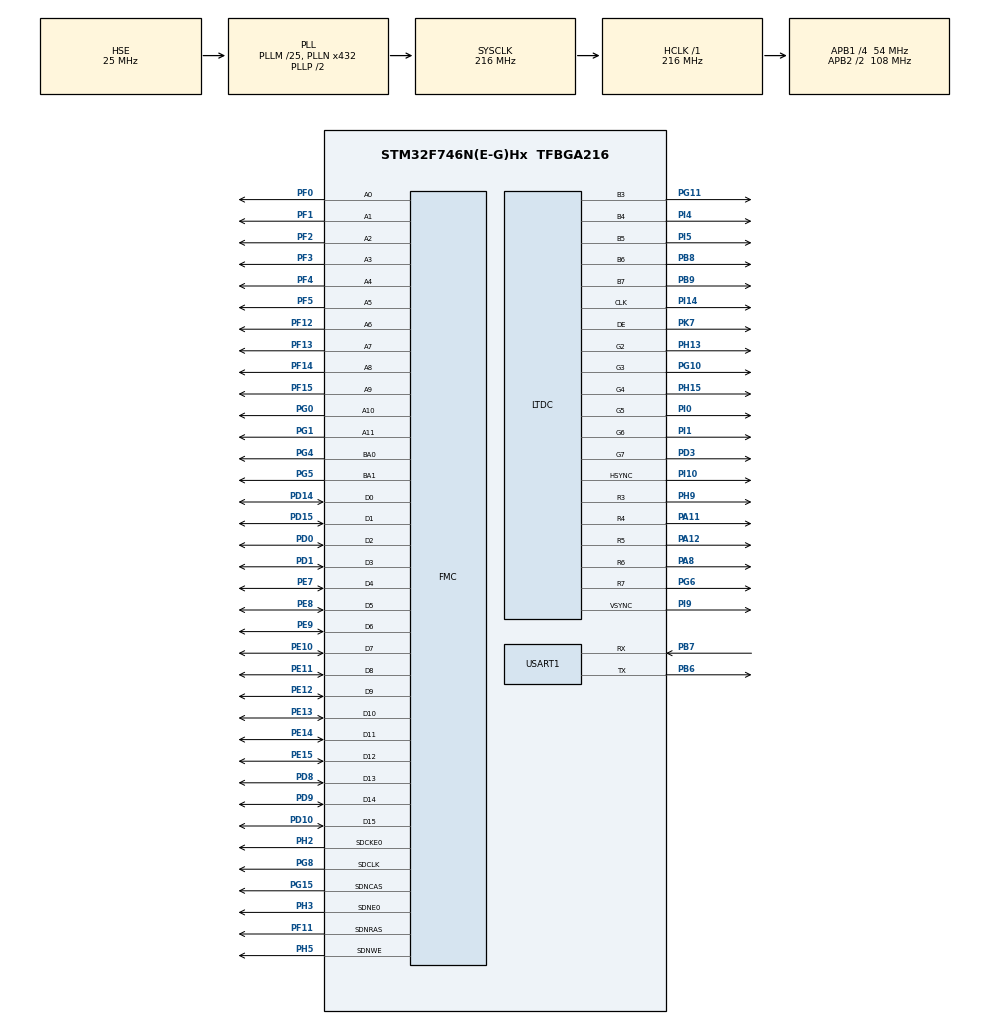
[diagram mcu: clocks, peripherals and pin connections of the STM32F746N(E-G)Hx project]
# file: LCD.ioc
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CORTEX_M7.CPU_DCache=Enabled
CORTEX_M7.CPU_ICache=Enabled
FMC.CASLatency1=FMC_SDRAM_CAS_LATENCY_2
FMC.ExitSelfRefreshDelay1=6
FMC.LoadToActiveDelay1=2
FMC.RCDDelay1=2
FMC.RPDelay1=2
FMC.RPDelay2=2
FMC.RowCycleDelay1=6
FMC.RowCycleDelay2=6
FMC.SelfRefreshTime1=4
FMC.WriteRecoveryTime1=2
FREERTOS.Tasks01=defaultTask,0,1280,StartDefaultTask,Default;myTask02,-3,128,StartTask02,Default;myTask03,-3,128,StartTask03,Default;myTask04,-3,128,StartTask04,Default;myTask05,-3,128,StartTask05,Default
LTDC.ActiveH=272
LTDC.ActiveW=480
LTDC.HBP=73
LTDC.HFP=32
LTDC.HSync=41
LTDC.Layers=0
LTDC.VSync=10
LTDC.WindowX1_L0=480
LTDC.WindowY1_L0=272
Mcu.Family=STM32F7
Mcu.Name=STM32F746N(E-G)Hx
Mcu.Package=TFBGA216
NVIC.PriorityGroup=NVIC_PRIORITYGROUP_4
NVIC.TIM1_UP_TIM10_IRQn=true\:0\:0\:false\:false\:true\:false
NVIC.TimeBase=TIM1_UP_TIM10_IRQn
NVIC.TimeBaseIP=TIM1
PA11.Mode=RGB565
PA11.Signal=LTDC_R4
PA12.Mode=RGB565
PA12.Signal=LTDC_R5
PA13.Mode=Serial_Wire
PA13.Signal=SYS_JTMS-SWDIO
PA14.Mode=Serial_Wire
PA14.Signal=SYS_JTCK-SWCLK
PA8.Mode=RGB565
PA8.Signal=LTDC_R6
PB6.Mode=Asynchronous
PB6.Signal=USART1_TX
PB7.Mode=Asynchronous
PB7.Signal=USART1_RX
PB8.Mode=RGB565
PB8.Signal=LTDC_B6
PB9.Mode=RGB565
PB9.Signal=LTDC_B7
PD0.Signal=FMC_D2_DA2
PD1.Signal=FMC_D3_DA3
PD10.Signal=FMC_D15_DA15
PD14.Signal=FMC_D0_DA0
PD15.Signal=FMC_D1_DA1
PD3.Mode=RGB565
PD3.Signal=LTDC_G7
PD8.Signal=FMC_D13_DA13
PD9.Signal=FMC_D14_DA14
PE10.Signal=FMC_D7_DA7
PE11.Signal=FMC_D8_DA8
PE12.Signal=FMC_D9_DA9
PE13.Signal=FMC_D10_DA10
PE14.Signal=FMC_D11_DA11
PE15.Signal=FMC_D12_DA12
PE7.Signal=FMC_D4_DA4
PE8.Signal=FMC_D5_DA5
PE9.Signal=FMC_D6_DA6
PF0.Signal=FMC_A0
PF1.Signal=FMC_A1
PF11.Signal=FMC_SDNRAS
PF12.Signal=FMC_A6
PF13.Signal=FMC_A7
PF14.Signal=FMC_A8
PF15.Signal=FMC_A9
PF2.Signal=FMC_A2
PF3.Signal=FMC_A3
PF4.Signal=FMC_A4
PF5.Signal=FMC_A5
PG0.Signal=FMC_A10
PG1.Signal=FMC_A11
PG10.Mode=RGB565
PG10.Signal=LTDC_G3
PG11.Mode=RGB565
PG11.Signal=LTDC_B3
PG15.Signal=FMC_SDNCAS
PG4.Signal=FMC_A14_BA0
PG5.Signal=FMC_A15_BA1
PG6.Mode=RGB565
PG6.Signal=LTDC_R7
PG8.Signal=FMC_SDCLK
PH0/OSC_IN.Mode=HSE-External-Oscillator
PH0/OSC_IN.Signal=RCC_OSC_IN
PH1/OSC_OUT.Mode=HSE-External-Oscillator
PH1/OSC_OUT.Signal=RCC_OSC_OUT
PH13.Mode=RGB565
PH13.Signal=LTDC_G2
PH15.Mode=RGB565
PH15.Signal=LTDC_G4
PH2.Mode=SdramChipSelect1_1
PH2.Signal=FMC_SDCKE0
PH3.Mode=SdramChipSelect1_1
PH3.Signal=FMC_SDNE0
PH5.Signal=FMC_SDNWE
PH9.Mode=RGB565
PH9.Signal=LTDC_R3
PI0.Mode=RGB565
PI0.Signal=LTDC_G5
PI1.Mode=RGB565
PI1.Signal=LTDC_G6
PI10.Mode=RGB565
PI10.Signal=LTDC_HSYNC
PI14.Mode=RGB565
PI14.Signal=LTDC_CLK
PI4.Mode=RGB565
PI4.Signal=LTDC_B4
PI5.Mode=RGB565
PI5.Signal=LTDC_B5
PI9.Mode=RGB565
PI9.Signal=LTDC_VSYNC
PK7.Mode=RGB565
PK7.Signal=LTDC_DE
ProjectManager.HeapSize=0x2000
ProjectManager.StackSize=0x4000
ProjectManager.TargetToolchain=SW4STM32
RCC.AHBFreq_Value=216000000
RCC.APB1CLKDivider=RCC_HCLK_DIV4
RCC.APB1Freq_Value=54000000
RCC.APB1TimFreq_Value=108000000
RCC.APB2CLKDivider=RCC_HCLK_DIV2
RCC.APB2Freq_Value=108000000
RCC.APB2TimFreq_Value=216000000
RCC.CortexFreq_Value=216000000
RCC.HCLKFreq_Value=216000000
RCC.HSE_VALUE=25000000
RCC.HSI_VALUE=16000000
RCC.LSE_VALUE=32768
RCC.PLLM=25
RCC.PLLN=432
RCC.PLLSourceVirtual=RCC_PLLSOURCE_HSE
RCC.SYSCLKFreq_VALUE=216000000
RCC.SYSCLKSource=RCC_SYSCLKSOURCE_PLLCLK
RCC.USBFreq_Value=216000000
RCC.VCOOutputFreq_Value=432000000
SH.FMC_A0.0=FMC_A0,12b-sda1
SH.FMC_A1.0=FMC_A1,12b-sda1
SH.FMC_A10.0=FMC_A10,12b-sda1
SH.FMC_A11.0=FMC_A11,12b-sda1
SH.FMC_A14_BA0.0=FMC_BA0,FourSdramBanks1
SH.FMC_A15_BA1.0=FMC_BA1,FourSdramBanks1
SH.FMC_A2.0=FMC_A2,12b-sda1
SH.FMC_A3.0=FMC_A3,12b-sda1
SH.FMC_A4.0=FMC_A4,12b-sda1
SH.FMC_A5.0=FMC_A5,12b-sda1
SH.FMC_A6.0=FMC_A6,12b-sda1
SH.FMC_A7.0=FMC_A7,12b-sda1
SH.FMC_A8.0=FMC_A8,12b-sda1
SH.FMC_A9.0=FMC_A9,12b-sda1
SH.FMC_D0_DA0.0=FMC_D0,sd-16b-d1
SH.FMC_D10_DA10.0=FMC_D10,sd-16b-d1
SH.FMC_D11_DA11.0=FMC_D11,sd-16b-d1
SH.FMC_D12_DA12.0=FMC_D12,sd-16b-d1
SH.FMC_D13_DA13.0=FMC_D13,sd-16b-d1
SH.FMC_D14_DA14.0=FMC_D14,sd-16b-d1
SH.FMC_D15_DA15.0=FMC_D15,sd-16b-d1
SH.FMC_D1_DA1.0=FMC_D1,sd-16b-d1
SH.FMC_D2_DA2.0=FMC_D2,sd-16b-d1
SH.FMC_D3_DA3.0=FMC_D3,sd-16b-d1
SH.FMC_D4_DA4.0=FMC_D4,sd-16b-d1
SH.FMC_D5_DA5.0=FMC_D5,sd-16b-d1
SH.FMC_D6_DA6.0=FMC_D6,sd-16b-d1
SH.FMC_D7_DA7.0=FMC_D7,sd-16b-d1
SH.FMC_D8_DA8.0=FMC_D8,sd-16b-d1
SH.FMC_D9_DA9.0=FMC_D9,sd-16b-d1
SH.FMC_SDCLK.0=FMC_SDCLK,12b-sda1
SH.FMC_SDNCAS.0=FMC_SDNCAS,12b-sda1
SH.FMC_SDNRAS.0=FMC_SDNRAS,12b-sda1
SH.FMC_SDNWE.0=FMC_SDNWE,12b-sda1
VP_DMA2D_VS_DMA2D.Mode=DMA2D_Activate
VP_FREERTOS_VS_ENABLE.Mode=Enabled
VP_SYS_VS_tim1.Mode=TIM1
board=LCD

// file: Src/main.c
/**
  ******************************************************************************
  * File Name          : main.c
  * Description        : Main program body
  ******************************************************************************
  *
  * Copyright (c) 2016 STMicroelectronics International N.V.
  * All rights reserved.
  *
  * Redistribution and use in source and binary forms, with or without
  * modification, are permitted, provided that the following conditions are met:
  *
  * 1. Redistribution of source code must retain the above copyright notice,
  *    this list of conditions and the following disclaimer.
  * 2. Redistributions in binary form must reproduce the above copyright notice,
  *    this list of conditions and the following disclaimer in the documentation
  *    and/or other materials provided with the distribution.
  * 3. Neither the name of STMicroelectronics nor the names of other
  *    contributors to this software may be used to endorse or promote products
  *    derived from this software without specific written permission.
  * 4. This software, including modifications and/or derivative works of this
  *    software, must execute solely and exclusively on microcontroller or
  *    microprocessor devices manufactured by or for STMicroelectronics.
  * 5. Redistribution and use of this software other than as permitted under
  *    this license is void and will automatically terminate your rights under
  *    this license.
  *
  * THIS SOFTWARE IS PROVIDED BY STMICROELECTRONICS AND CONTRIBUTORS "AS IS"
  * AND ANY EXPRESS, IMPLIED OR STATUTORY WARRANTIES, INCLUDING, BUT NOT
  * LIMITED TO, THE IMPLIED WARRANTIES OF MERCHANTABILITY, FITNESS FOR A
  * PARTICULAR PURPOSE AND NON-INFRINGEMENT OF THIRD PARTY INTELLECTUAL PROPERTY
  * RIGHTS ARE DISCLAIMED TO THE FULLEST EXTENT PERMITTED BY LAW. IN NO EVENT
  * SHALL STMICROELECTRONICS OR CONTRIBUTORS BE LIABLE FOR ANY DIRECT, INDIRECT,
  * INCIDENTAL, SPECIAL, EXEMPLARY, OR CONSEQUENTIAL DAMAGES (INCLUDING, BUT NOT
  * LIMITED TO, PROCUREMENT OF SUBSTITUTE GOODS OR SERVICES; LOSS OF USE, DATA,
  * OR PROFITS; OR BUSINESS INTERRUPTION) HOWEVER CAUSED AND ON ANY THEORY OF
  * LIABILITY, WHETHER IN CONTRACT, STRICT LIABILITY, OR TORT (INCLUDING
  * NEGLIGENCE OR OTHERWISE) ARISING IN ANY WAY OUT OF THE USE OF THIS SOFTWARE,
  * EVEN IF ADVISED OF THE POSSIBILITY OF SUCH DAMAGE.
  *
  ******************************************************************************
  */
#include "main.h"
#include "stm32f7xx_hal.h"
#include "cmsis_os.h"

/* USER CODE BEGIN Includes */
#include <stdlib.h>
#include "stm32746g_discovery.h"
#include "stm32746g_discovery_lcd.h"
/* USER CODE END Includes */

DMA2D_HandleTypeDef hdma2d;

LTDC_HandleTypeDef hltdc;

UART_HandleTypeDef huart1;

SDRAM_HandleTypeDef hsdram1;

osThreadId defaultTaskHandle;
osThreadId myTask02Handle;
osThreadId myTask03Handle;
osThreadId myTask04Handle;
osThreadId myTask05Handle;

/* USER CODE BEGIN PV */
/* Private variables ---------------------------------------------------------*/
#define LCD_FRAME_BUFFER	SDRAM_DEVICE_ADDR
/* USER CODE END PV */

void SystemClock_Config(void);
void Error_Handler(void);
static void MX_GPIO_Init(void);
static void MX_DMA2D_Init(void);
static void MX_FMC_Init(void);
static void MX_LTDC_Init(void);
static void MX_USART1_UART_Init(void);
void StartDefaultTask(void const * argument);
void StartTask02(void const * argument);
void StartTask03(void const * argument);
void StartTask04(void const * argument);
void StartTask05(void const * argument);

/* USER CODE BEGIN PFP */
/* Private function prototypes -----------------------------------------------*/

/* USER CODE END PFP */

int main(void)
{

  /* Enable I-Cache-------------------------------------------------------------*/
  SCB_EnableICache();

  /* Enable D-Cache-------------------------------------------------------------*/
  SCB_EnableDCache();

  /* MCU Configuration----------------------------------------------------------*/

  /* Reset of all peripherals, Initializes the Flash interface and the Systick. */
  HAL_Init();

  /* Configure the system clock */
  SystemClock_Config();

  /* Initialize all configured peripherals */
  MX_GPIO_Init();
  MX_DMA2D_Init();
  MX_FMC_Init();
  MX_LTDC_Init();
  MX_USART1_UART_Init();

  /* USER CODE BEGIN 2 */
  BSP_LCD_Init();
  BSP_LCD_LayerDefaultInit(LTDC_ACTIVE_LAYER, LCD_FRAME_BUFFER);
  BSP_LCD_SelectLayer(LTDC_ACTIVE_LAYER);
  BSP_LCD_DisplayOn();
  BSP_LCD_Clear(LCD_COLOR_BLACK);
  /* USER CODE END 2 */

  /* Create the thread(s) */
  /* definition and creation of defaultTask */
  osThreadDef(defaultTask, StartDefaultTask, osPriorityNormal, 0, 1280);
  defaultTaskHandle = osThreadCreate(osThread(defaultTask), NULL);

  /* definition and creation of myTask02 */
  osThreadDef(myTask02, StartTask02, osPriorityIdle, 0, 128);
  myTask02Handle = osThreadCreate(osThread(myTask02), NULL);

  /* definition and creation of myTask03 */
  osThreadDef(myTask03, StartTask03, osPriorityIdle, 0, 128);
  myTask03Handle = osThreadCreate(osThread(myTask03), NULL);

  /* definition and creation of myTask04 */
  osThreadDef(myTask04, StartTask04, osPriorityIdle, 0, 128);
  myTask04Handle = osThreadCreate(osThread(myTask04), NULL);

  /* definition and creation of myTask05 */
  osThreadDef(myTask05, StartTask05, osPriorityIdle, 0, 128);
  myTask05Handle = osThreadCreate(osThread(myTask05), NULL);

  /* Start scheduler */
  osKernelStart();

  /* We should never get here as control is now taken by the scheduler */

  /* Infinite loop */
  while (1)
  {

  }

}

/** System Clock Configuration
*/
void SystemClock_Config(void)
{

  RCC_OscInitTypeDef RCC_OscInitStruct;
  RCC_ClkInitTypeDef RCC_ClkInitStruct;
  RCC_PeriphCLKInitTypeDef PeriphClkInitStruct;

    /**Configure the main internal regulator output voltage
    */
  __HAL_RCC_PWR_CLK_ENABLE();

  __HAL_PWR_VOLTAGESCALING_CONFIG(PWR_REGULATOR_VOLTAGE_SCALE1);

    /**Initializes the CPU, AHB and APB busses clocks
    */
  RCC_OscInitStruct.OscillatorType = RCC_OSCILLATORTYPE_HSE;
  RCC_OscInitStruct.HSEState = RCC_HSE_ON;
  RCC_OscInitStruct.PLL.PLLState = RCC_PLL_ON;
  RCC_OscInitStruct.PLL.PLLSource = RCC_PLLSOURCE_HSE;
  RCC_OscInitStruct.PLL.PLLM = 25;
  RCC_OscInitStruct.PLL.PLLN = 432;
  RCC_OscInitStruct.PLL.PLLP = RCC_PLLP_DIV2;
  RCC_OscInitStruct.PLL.PLLQ = 2;
  if (HAL_RCC_OscConfig(&RCC_OscInitStruct) != HAL_OK)
  {
    Error_Handler();
  }

    /**Activate the Over-Drive mode
    */
  if (HAL_PWREx_EnableOverDrive() != HAL_OK)
  {
    Error_Handler();
  }

    /**Initializes the CPU, AHB and APB busses clocks
    */
  RCC_ClkInitStruct.ClockType = RCC_CLOCKTYPE_HCLK|RCC_CLOCKTYPE_SYSCLK
                              |RCC_CLOCKTYPE_PCLK1|RCC_CLOCKTYPE_PCLK2;
  RCC_ClkInitStruct.SYSCLKSource = RCC_SYSCLKSOURCE_PLLCLK;
  RCC_ClkInitStruct.AHBCLKDivider = RCC_SYSCLK_DIV1;
  RCC_ClkInitStruct.APB1CLKDivider = RCC_HCLK_DIV4;
  RCC_ClkInitStruct.APB2CLKDivider = RCC_HCLK_DIV2;

  if (HAL_RCC_ClockConfig(&RCC_ClkInitStruct, FLASH_LATENCY_7) != HAL_OK)
  {
    Error_Handler();
  }

  PeriphClkInitStruct.PeriphClockSelection = RCC_PERIPHCLK_LTDC|RCC_PERIPHCLK_USART1;
  PeriphClkInitStruct.PLLSAI.PLLSAIN = 192;
  PeriphClkInitStruct.PLLSAI.PLLSAIR = 2;
  PeriphClkInitStruct.PLLSAI.PLLSAIQ = 2;
  PeriphClkInitStruct.PLLSAI.PLLSAIP = RCC_PLLSAIP_DIV2;
  PeriphClkInitStruct.PLLSAIDivQ = 1;
  PeriphClkInitStruct.PLLSAIDivR = RCC_PLLSAIDIVR_2;
  PeriphClkInitStruct.Usart1ClockSelection = RCC_USART1CLKSOURCE_PCLK2;
  if (HAL_RCCEx_PeriphCLKConfig(&PeriphClkInitStruct) != HAL_OK)
  {
    Error_Handler();
  }

    /**Configure the Systick interrupt time
    */
  HAL_SYSTICK_Config(HAL_RCC_GetHCLKFreq()/1000);

    /**Configure the Systick
    */
  HAL_SYSTICK_CLKSourceConfig(SYSTICK_CLKSOURCE_HCLK);

  /* SysTick_IRQn interrupt configuration */
  HAL_NVIC_SetPriority(SysTick_IRQn, 15, 0);
}

/* DMA2D init function */
static void MX_DMA2D_Init(void)
{

  hdma2d.Instance = DMA2D;
  hdma2d.Init.Mode = DMA2D_M2M;
  hdma2d.Init.ColorMode = DMA2D_OUTPUT_ARGB8888;
  hdma2d.Init.OutputOffset = 0;
  hdma2d.LayerCfg[1].InputOffset = 0;
  hdma2d.LayerCfg[1].InputColorMode = DMA2D_INPUT_ARGB8888;
  hdma2d.LayerCfg[1].AlphaMode = DMA2D_NO_MODIF_ALPHA;
  hdma2d.LayerCfg[1].InputAlpha = 0;
  if (HAL_DMA2D_Init(&hdma2d) != HAL_OK)
  {
    Error_Handler();
  }

  if (HAL_DMA2D_ConfigLayer(&hdma2d, 1) != HAL_OK)
  {
    Error_Handler();
  }

}

/* LTDC init function */
static void MX_LTDC_Init(void)
{

  LTDC_LayerCfgTypeDef pLayerCfg;

  hltdc.Instance = LTDC;
  hltdc.Init.HSPolarity = LTDC_HSPOLARITY_AL;
  hltdc.Init.VSPolarity = LTDC_VSPOLARITY_AL;
  hltdc.Init.DEPolarity = LTDC_DEPOLARITY_AL;
  hltdc.Init.PCPolarity = LTDC_PCPOLARITY_IPC;
  hltdc.Init.HorizontalSync = 40;
  hltdc.Init.VerticalSync = 9;
  hltdc.Init.AccumulatedHBP = 113;
  hltdc.Init.AccumulatedVBP = 11;
  hltdc.Init.AccumulatedActiveW = 593;
  hltdc.Init.AccumulatedActiveH = 283;
  hltdc.Init.TotalWidth = 625;
  hltdc.Init.TotalHeigh = 285;
  hltdc.Init.Backcolor.Blue = 0;
  hltdc.Init.Backcolor.Green = 0;
  hltdc.Init.Backcolor.Red = 0;
  if (HAL_LTDC_Init(&hltdc) != HAL_OK)
  {
    Error_Handler();
  }

  pLayerCfg.WindowX0 = 0;
  pLayerCfg.WindowX1 = 480;
  pLayerCfg.WindowY0 = 0;
  pLayerCfg.WindowY1 = 272;
  pLayerCfg.PixelFormat = LTDC_PIXEL_FORMAT_RGB565;
  pLayerCfg.Alpha = 0;
  pLayerCfg.Alpha0 = 0;
  pLayerCfg.BlendingFactor1 = LTDC_BLENDING_FACTOR1_CA;
  pLayerCfg.BlendingFactor2 = LTDC_BLENDING_FACTOR2_CA;
  pLayerCfg.FBStartAdress = 0;
  pLayerCfg.ImageWidth = 0;
  pLayerCfg.ImageHeight = 0;
  pLayerCfg.Backcolor.Blue = 0;
  pLayerCfg.Backcolor.Green = 0;
  pLayerCfg.Backcolor.Red = 0;
  if (HAL_LTDC_ConfigLayer(&hltdc, &pLayerCfg, 0) != HAL_OK)
  {
    Error_Handler();
  }

}

/* USART1 init function */
static void MX_USART1_UART_Init(void)
{

  huart1.Instance = USART1;
  huart1.Init.BaudRate = 115200;
  huart1.Init.WordLength = UART_WORDLENGTH_7B;
  huart1.Init.StopBits = UART_STOPBITS_1;
  huart1.Init.Parity = UART_PARITY_NONE;
  huart1.Init.Mode = UART_MODE_TX_RX;
  huart1.Init.HwFlowCtl = UART_HWCONTROL_NONE;
  huart1.Init.OverSampling = UART_OVERSAMPLING_16;
  huart1.Init.OneBitSampling = UART_ONE_BIT_SAMPLE_DISABLE;
  huart1.AdvancedInit.AdvFeatureInit = UART_ADVFEATURE_NO_INIT;
  if (HAL_UART_Init(&huart1) != HAL_OK)
  {
    Error_Handler();
  }

}
/* FMC initialization function */
static void MX_FMC_Init(void)
{
  FMC_SDRAM_TimingTypeDef SdramTiming;

  /** Perform the SDRAM1 memory initialization sequence
  */
  hsdram1.Instance = FMC_SDRAM_DEVICE;
  /* hsdram1.Init */
  hsdram1.Init.SDBank = FMC_SDRAM_BANK1;
  hsdram1.Init.ColumnBitsNumber = FMC_SDRAM_COLUMN_BITS_NUM_8;
  hsdram1.Init.RowBitsNumber = FMC_SDRAM_ROW_BITS_NUM_12;
  hsdram1.Init.MemoryDataWidth = FMC_SDRAM_MEM_BUS_WIDTH_16;
  hsdram1.Init.InternalBankNumber = FMC_SDRAM_INTERN_BANKS_NUM_4;
  hsdram1.Init.CASLatency = FMC_SDRAM_CAS_LATENCY_2;
  hsdram1.Init.WriteProtection = FMC_SDRAM_WRITE_PROTECTION_DISABLE;
  hsdram1.Init.SDClockPeriod = FMC_SDRAM_CLOCK_DISABLE;
  hsdram1.Init.ReadBurst = FMC_SDRAM_RBURST_DISABLE;
  hsdram1.Init.ReadPipeDelay = FMC_SDRAM_RPIPE_DELAY_0;
  /* SdramTiming */
  SdramTiming.LoadToActiveDelay = 2;
  SdramTiming.ExitSelfRefreshDelay = 6;
  SdramTiming.SelfRefreshTime = 4;
  SdramTiming.RowCycleDelay = 6;
  SdramTiming.WriteRecoveryTime = 2;
  SdramTiming.RPDelay = 2;
  SdramTiming.RCDDelay = 2;

  if (HAL_SDRAM_Init(&hsdram1, &SdramTiming) != HAL_OK)
  {
    Error_Handler();
  }

}

/** Configure pins as
        * Analog
        * Input
        * Output
        * EVENT_OUT
        * EXTI
*/
static void MX_GPIO_Init(void)
{

  /* GPIO Ports Clock Enable */
  __HAL_RCC_GPIOB_CLK_ENABLE();
  __HAL_RCC_GPIOA_CLK_ENABLE();
  __HAL_RCC_GPIOG_CLK_ENABLE();
  __HAL_RCC_GPIOD_CLK_ENABLE();
  __HAL_RCC_GPIOI_CLK_ENABLE();
  __HAL_RCC_GPIOK_CLK_ENABLE();
  __HAL_RCC_GPIOF_CLK_ENABLE();
  __HAL_RCC_GPIOH_CLK_ENABLE();
  __HAL_RCC_GPIOE_CLK_ENABLE();

}

/* StartDefaultTask function */
void StartDefaultTask(void const * argument)
{

  /* USER CODE BEGIN 5 */
  /* Infinite loop */
  for(;;)
  {
	BSP_LCD_SetTextColor(LCD_COLOR_BLACK);
	BSP_LCD_FillRect(0,136,96,136);
	BSP_LCD_SetTextColor((uint32_t)(LCD_COLOR_TRANSPARENT|((rand()%256)<<16)|((rand()%256)<<8)|(rand()%256)));
	BSP_LCD_FillRect(0,0,96,136);
    osDelay(200);
	BSP_LCD_SetTextColor(LCD_COLOR_BLACK);
	BSP_LCD_FillRect(0,0,96,136);
	BSP_LCD_SetTextColor((uint32_t)(LCD_COLOR_TRANSPARENT|((rand()%256)<<16)|((rand()%256)<<8)|(rand()%256)));
	BSP_LCD_FillRect(0,136,96,136);
    osDelay(200);
  }
  /* USER CODE END 5 */
}

/* StartTask02 function */
void StartTask02(void const * argument)
{
  /* USER CODE BEGIN StartTask02 */
  /* Infinite loop */
  for(;;)
  {
		BSP_LCD_SetTextColor(LCD_COLOR_BLACK);
		BSP_LCD_FillRect(96,136,96,136);
		BSP_LCD_SetTextColor((uint32_t)(LCD_COLOR_TRANSPARENT|((rand()%256)<<16)|((rand()%256)<<8)|(rand()%256)));
		BSP_LCD_FillRect(96,0,96,136);
	    osDelay(190);
		BSP_LCD_SetTextColor(LCD_COLOR_BLACK);
		BSP_LCD_FillRect(96,0,96,136);
		BSP_LCD_SetTextColor((uint32_t)(LCD_COLOR_TRANSPARENT|((rand()%256)<<16)|((rand()%256)<<8)|(rand()%256)));
		BSP_LCD_FillRect(96,136,96,136);
	    osDelay(190);
  }
  /* USER CODE END StartTask02 */
}

/* StartTask03 function */
void StartTask03(void const * argument)
{
  /* USER CODE BEGIN StartTask03 */
  /* Infinite loop */
  for(;;)
  {
		BSP_LCD_SetTextColor(LCD_COLOR_BLACK);
		BSP_LCD_FillRect(192,136,96,136);
		BSP_LCD_SetTextColor((uint32_t)(LCD_COLOR_TRANSPARENT|((rand()%256)<<16)|((rand()%256)<<8)|(rand()%256)));
		BSP_LCD_FillRect(192,0,96,136);
	    osDelay(180);
		BSP_LCD_SetTextColor(LCD_COLOR_BLACK);
		BSP_LCD_FillRect(192,0,96,136);
		BSP_LCD_SetTextColor((uint32_t)(LCD_COLOR_TRANSPARENT|((rand()%256)<<16)|((rand()%256)<<8)|(rand()%256)));
		BSP_LCD_FillRect(192,136,96,136);
	    osDelay(180);
  }
  /* USER CODE END StartTask03 */
}

/* StartTask04 function */
void StartTask04(void const * argument)
{
  /* USER CODE BEGIN StartTask04 */
  /* Infinite loop */
  for(;;)
  {
		BSP_LCD_SetTextColor(LCD_COLOR_BLACK);
		BSP_LCD_FillRect(288,136,96,136);
		BSP_LCD_SetTextColor((uint32_t)(LCD_COLOR_TRANSPARENT|((rand()%256)<<16)|((rand()%256)<<8)|(rand()%256)));
		BSP_LCD_FillRect(288,0,96,136);
	    osDelay(170);
		BSP_LCD_SetTextColor(LCD_COLOR_BLACK);
		BSP_LCD_FillRect(288,0,96,136);
		BSP_LCD_SetTextColor((uint32_t)(LCD_COLOR_TRANSPARENT|((rand()%256)<<16)|((rand()%256)<<8)|(rand()%256)));
		BSP_LCD_FillRect(288,136,96,136);
	    osDelay(170);
  }
  /* USER CODE END StartTask04 */
}

/* StartTask05 function */
void StartTask05(void const * argument)
{
  /* USER CODE BEGIN StartTask05 */
  /* Infinite loop */
  for(;;)
  {
		BSP_LCD_SetTextColor(LCD_COLOR_BLACK);
		BSP_LCD_FillRect(384,136,96,136);
		BSP_LCD_SetTextColor((uint32_t)(LCD_COLOR_TRANSPARENT|((rand()%256)<<16)|((rand()%256)<<8)|(rand()%256)));
		BSP_LCD_FillRect(384,0,96,136);
	    osDelay(160);
		BSP_LCD_SetTextColor(LCD_COLOR_BLACK);
		BSP_LCD_FillRect(384,0,96,136);
		BSP_LCD_SetTextColor((uint32_t)(LCD_COLOR_TRANSPARENT|((rand()%256)<<16)|((rand()%256)<<8)|(rand()%256)));
		BSP_LCD_FillRect(384,136,96,136);
	    osDelay(160);
  }
  /* USER CODE END StartTask05 */
}

void HAL_TIM_PeriodElapsedCallback(TIM_HandleTypeDef *htim)
{
  if (htim->Instance == TIM1) {
    HAL_IncTick();
  }
}

void Error_Handler(void)
{
  while(1)
  {
  }
}

/************************ (C) COPYRIGHT STMicroelectronics *****END OF FILE****/
